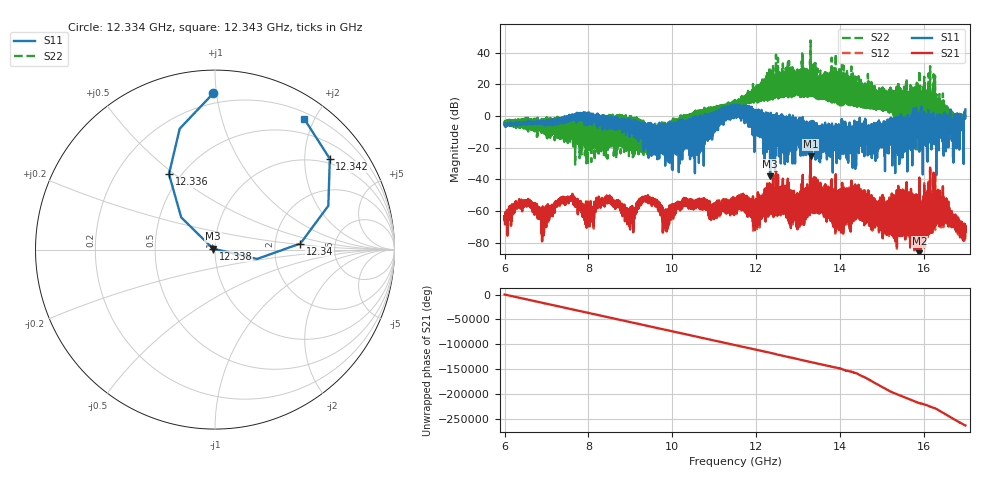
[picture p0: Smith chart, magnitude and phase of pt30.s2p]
#  HZ  S  RI  R  50.00
! Rohde & Schwarz Vector Network Analyzer
! Rohde-Schwarz,ZNA67-2Port,1332450062101215,3.01
! Created: UTC 10/15/2026, 3:34:29 PM
! freq[Hz]  re:S11  im:S11  re:S21  im:S21  re:S12  im:S12  re:S22  im:S22
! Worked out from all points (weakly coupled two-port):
!   11001 points, 6 GHz to 17 GHz, reference 50 ohm
!   highest |S21| = -25.43 dB at 13.304 GHz (marker M1); lowest = -86.9 dB at 15.903 GHz (marker M2)
!   lowest |S11| = -38.2 dB at 12.338 GHz (marker M3), VSWR 1.02, Z = 48.9 + j0.525 ohm
!   |S11| at or under -10 dB: 13.4803 GHz to 13.49692 GHz (16.61 MHz wide, 0.123 % of centre); 13.59816 GHz to 13.62647 GHz (28.31 MHz wide, 0.208 % of centre); 14.15701 GHz to 14.17438 GHz (17.36 MHz wide, 0.123 % of centre) (the widest 3 of 503)
!   |S22| runs from -30.7 to 47.7 dB; largest |S21 - S12| = 0.0045
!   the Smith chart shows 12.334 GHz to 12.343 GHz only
!   S11 on the Smith chart (normalised r, x): 12.334 GHz: 0.14, +0.98; 12.336 GHz: 0.43, +0.48; 12.338 GHz: 0.98, +0.01; 12.34 GHz: 2.80, +0.25; 12.342 GHz: 0.87, +2.62; 12.343 GHz: 0.29, +1.86
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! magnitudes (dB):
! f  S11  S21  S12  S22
! 6 GHz  -5.0  -63.4  -63.2  -3.4
! 6.546 GHz  -4.9  -53.5  -53.5  -1.6
! 6.913 GHz  -4.5  -61.3  -61.4  -10.4
! 7.38 GHz  -3.4  -53.9  -53.7  -13.2
! 7.834 GHz  -0.3  -61.0  -60.7  -7.0
! 9.667 GHz  -12.3  -55.3  -55.4  -11.7
! 9.833 GHz  -31.5  -61.7  -61.9  -6.6
! 10.31 GHz  -15.5  -53.8  -53.8  -3.9
! 11.5 GHz  6.8  -60.1  -60.1  7.0
! 11.987 GHz  -4.4  -59.3  -59.6  17.7
! 12.334 GHz  -1.2  -58.7  -59.6  13.5
! 12.336 GHz  -6.1  -60.9  -60.2  10.5
! 12.338 GHz  -38.2  -51.9  -52.3  18.7
! 12.34 GHz  -6.4  -56.3  -55.6  14.9
! 12.342 GHz  -1.8  -58.9  -59.0  14.0
! 12.343 GHz  -1.1  -53.9  -54.1  17.4
! 13.304 GHz  -5.9  -25.4  -25.5  47.7
! 13.334 GHz  -8.6  -56.9  -57.1  15.5
! 15.167 GHz  -9.6  -64.7  -66.7  8.0
! 15.903 GHz  -9.4  -86.9  -88.4  -19.1
! 16.491 GHz  -7.3  -65.6  -64.2  -2.5
! 17 GHz  4.1  -73.2  -73.8  0.0
